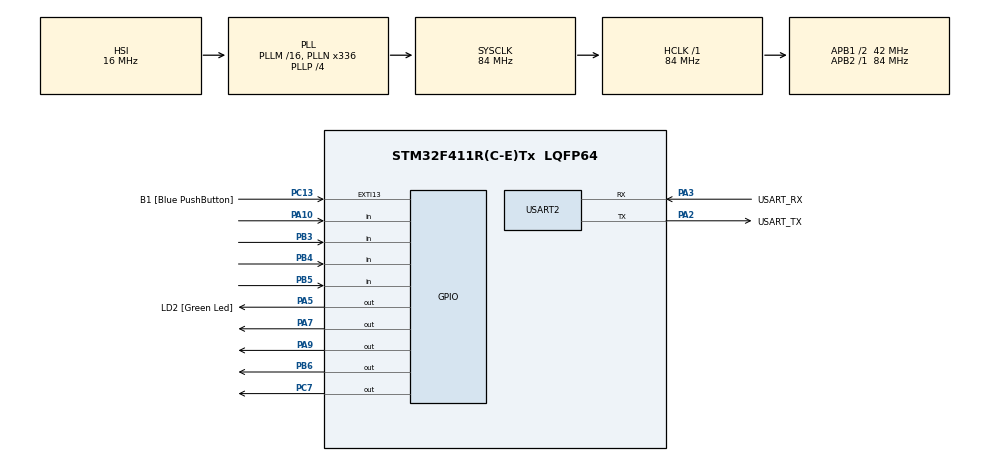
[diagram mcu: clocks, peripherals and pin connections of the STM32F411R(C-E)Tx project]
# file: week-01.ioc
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Mcu.Family=STM32F4
Mcu.Name=STM32F411R(C-E)Tx
Mcu.Package=LQFP64
NVIC.PriorityGroup=NVIC_PRIORITYGROUP_0
PA10.Signal=GPIO_Input
PA13.GPIO_Label=TMS
PA13.Mode=Serial_Wire
PA13.Signal=SYS_JTMS-SWDIO
PA14.GPIO_Label=TCK
PA14.Mode=Serial_Wire
PA14.Signal=SYS_JTCK-SWCLK
PA2.GPIO_Label=USART_TX
PA2.Mode=Asynchronous
PA2.Signal=USART2_TX
PA3.GPIO_Label=USART_RX
PA3.Mode=Asynchronous
PA3.Signal=USART2_RX
PA5.GPIO_Label=LD2 [Green Led]
PA5.Signal=GPIO_Output
PA7.Signal=GPIO_Output
PA9.Signal=GPIO_Output
PB3.Signal=GPIO_Input
PB4.Signal=GPIO_Input
PB5.Signal=GPIO_Input
PB6.Signal=GPIO_Output
PC13-ANTI_TAMP.GPIO_Label=B1 [Blue PushButton]
PC13-ANTI_TAMP.GPIO_ModeDefaultEXTI=GPIO_MODE_IT_FALLING
PC13-ANTI_TAMP.Signal=GPXTI13
PC14-OSC32_IN.Mode=LSE-External-Oscillator
PC14-OSC32_IN.Signal=RCC_OSC32_IN
PC15-OSC32_OUT.Mode=LSE-External-Oscillator
PC15-OSC32_OUT.Signal=RCC_OSC32_OUT
PC7.Signal=GPIO_Output
PH0\ -\ OSC_IN.Mode=HSE-External-Clock-Source
PH0\ -\ OSC_IN.Signal=RCC_OSC_IN
PH1\ -\ OSC_OUT.Mode=HSE-External-Clock-Source
PH1\ -\ OSC_OUT.Signal=RCC_OSC_OUT
ProjectManager.HeapSize=0x200
ProjectManager.StackSize=0x400
ProjectManager.TargetToolchain=STM32CubeIDE
RCC.48MHZClocksFreq_Value=84000000
RCC.AHBFreq_Value=84000000
RCC.APB1CLKDivider=RCC_HCLK_DIV2
RCC.APB1Freq_Value=42000000
RCC.APB1TimFreq_Value=84000000
RCC.APB2Freq_Value=84000000
RCC.APB2TimFreq_Value=84000000
RCC.CortexFreq_Value=84000000
RCC.FLatency-AdvancedSettings=FLASH_LATENCY_2
RCC.HCLKFreq_Value=84000000
RCC.HSE_VALUE=8000000
RCC.HSI_VALUE=16000000
RCC.PLLN=336
RCC.PLLP=RCC_PLLP_DIV4
RCC.SYSCLKFreq_VALUE=84000000
RCC.SYSCLKSource=RCC_SYSCLKSOURCE_PLLCLK
RCC.VCOOutputFreq_Value=336000000
USART2.VirtualMode=VM_ASYNC
board=NUCLEO-F411RE

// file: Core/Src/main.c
/* USER CODE BEGIN Header */
/**
 ******************************************************************************
 * @file           : main.c
 * @brief          : Main program body
 ******************************************************************************
 * @attention
 *
 * <h2><center>&copy; Copyright (c) 2021 STMicroelectronics.
 * All rights reserved.</center></h2>
 *
 * This software component is licensed by ST under BSD 3-Clause license,
 * the "License"; You may not use this file except in compliance with the
 * License. You may obtain a copy of the License at:
 *                        opensource.org/licenses/BSD-3-Clause
 *
 ******************************************************************************
 */
/* USER CODE END Header */
#include "main.h"

UART_HandleTypeDef huart2;

void SystemClock_Config(void);
static void MX_GPIO_Init(void);
static void MX_USART2_UART_Init(void);

int main(void) {

	/* MCU Configuration--------------------------------------------------------*/

	/* Reset of all peripherals, Initializes the Flash interface and the Systick. */
	HAL_Init();

	/* Configure the system clock */
	SystemClock_Config();

	/* Initialize all configured peripherals */
	MX_GPIO_Init();
	MX_USART2_UART_Init();
	/* USER CODE BEGIN 2 */
	GPIO_PinState SWstate1[2]; //--------------------
	GPIO_PinState SWstate2[2]; //--------------------
	GPIO_PinState SWstate3[2]; //--------------------
	uint8_t SW = 0;
	uint8_t TTTSW = 0;
	uint16_t LEDtime = 1000; //1hz ------------------
	uint32_t Timestamp = 0;
	uint32_t TTimestamp = 0;
	uint32_t TTTimestamp = 0;
	/* USER CODE END 2 */

	/* Infinite loop */
	/* USER CODE BEGIN WHILE */
	while (1) {
		if (HAL_GetTick() - Timestamp >= 100) {
			TTimestamp = HAL_GetTick();
			//----------------------------------------------------S1--------------------------
			SWstate1[0] = HAL_GPIO_ReadPin(GPIOA, GPIO_PIN_10);
			if (SWstate1[1] == GPIO_PIN_RESET && SWstate1[0] == GPIO_PIN_SET) {
				SW += 1;
				if (SW == 0 || SW == 4) {
					SW = 0;
					LEDtime = 1000;
				} else if (SW == 1) {
					LEDtime = 500;
				} else if (SW == 2) {
					LEDtime = 250;
				} else if (SW == 3) {
					LEDtime = 125;
				}
			}
			//---------------------------------------------------S2 D3----------------------
			SWstate2[0] = HAL_GPIO_ReadPin(GPIOB, GPIO_PIN_3);
			if (SWstate2[1] == GPIO_PIN_RESET && SWstate2[0] == GPIO_PIN_SET) {
				if (HAL_GPIO_ReadPin(GPIOC, GPIO_PIN_7) == GPIO_PIN_SET) {
					HAL_GPIO_WritePin(GPIOC, GPIO_PIN_7, GPIO_PIN_RESET);
				} else {
					HAL_GPIO_WritePin(GPIOC, GPIO_PIN_7, GPIO_PIN_SET);
				}
			}
			//----------------------------------------------------S3--------------------------
			SWstate3[0] = HAL_GPIO_ReadPin(GPIOB, GPIO_PIN_5);
			if (SWstate3[1] == GPIO_PIN_RESET && SWstate3[0] == GPIO_PIN_SET) {
				if (HAL_GPIO_ReadPin(GPIOB, GPIO_PIN_6) == GPIO_PIN_SET) {
					HAL_GPIO_WritePin(GPIOB, GPIO_PIN_6, GPIO_PIN_RESET);
				} else {
					HAL_GPIO_WritePin(GPIOB, GPIO_PIN_6, GPIO_PIN_SET);
				}
			}
		}
		//------------------------------------------------------------------------------------
		SWstate1[1] = SWstate1[0];
		SWstate2[1] = SWstate2[0];
		SWstate3[1] = SWstate3[0];
		//--------------------------------------------------------D1--------------------------
		if (HAL_GetTick() - Timestamp >= LEDtime) {
			Timestamp = HAL_GetTick();
			if (HAL_GPIO_ReadPin(GPIOA, GPIO_PIN_9) == GPIO_PIN_SET) {
				HAL_GPIO_WritePin(GPIOA, GPIO_PIN_9, GPIO_PIN_RESET);
			} else {
				HAL_GPIO_WritePin(GPIOA, GPIO_PIN_9, GPIO_PIN_SET);
			}
		}
		//--------------------------------------------------------D5---------------------------
		if (HAL_GetTick() - TTTimestamp >= 500 && TTTSW == 0) {
			TTTSW = 1;
			TTTimestamp = HAL_GetTick();
			if (HAL_GPIO_ReadPin(GPIOB, GPIO_PIN_6) == GPIO_PIN_SET) {
				HAL_GPIO_WritePin(GPIOB, GPIO_PIN_6, GPIO_PIN_RESET);
			} else {
				HAL_GPIO_WritePin(GPIOB, GPIO_PIN_6, GPIO_PIN_SET);
			}
		} else if (HAL_GetTick() - TTTimestamp >= 1500) {
			TTTSW = 0;
			TTTimestamp = HAL_GetTick();
			if (HAL_GPIO_ReadPin(GPIOB, GPIO_PIN_6) == GPIO_PIN_SET) {
				HAL_GPIO_WritePin(GPIOB, GPIO_PIN_6, GPIO_PIN_RESET);
			} else {
				HAL_GPIO_WritePin(GPIOB, GPIO_PIN_6, GPIO_PIN_SET);
			}
		}

		/* USER CODE END WHILE */

		/* USER CODE BEGIN 3 */
		//-------------------------------------------------------
	}
	/* USER CODE END 3 */
}

void SystemClock_Config(void) {
	RCC_OscInitTypeDef RCC_OscInitStruct = { 0 };
	RCC_ClkInitTypeDef RCC_ClkInitStruct = { 0 };

	/** Configure the main internal regulator output voltage
	 */
	__HAL_RCC_PWR_CLK_ENABLE();
	__HAL_PWR_VOLTAGESCALING_CONFIG(PWR_REGULATOR_VOLTAGE_SCALE1);
	/** Initializes the RCC Oscillators according to the specified parameters
	 * in the RCC_OscInitTypeDef structure.
	 */
	RCC_OscInitStruct.OscillatorType = RCC_OSCILLATORTYPE_HSI;
	RCC_OscInitStruct.HSIState = RCC_HSI_ON;
	RCC_OscInitStruct.HSICalibrationValue = RCC_HSICALIBRATION_DEFAULT;
	RCC_OscInitStruct.PLL.PLLState = RCC_PLL_ON;
	RCC_OscInitStruct.PLL.PLLSource = RCC_PLLSOURCE_HSI;
	RCC_OscInitStruct.PLL.PLLM = 16;
	RCC_OscInitStruct.PLL.PLLN = 336;
	RCC_OscInitStruct.PLL.PLLP = RCC_PLLP_DIV4;
	RCC_OscInitStruct.PLL.PLLQ = 4;
	if (HAL_RCC_OscConfig(&RCC_OscInitStruct) != HAL_OK) {
		Error_Handler();
	}
	/** Initializes the CPU, AHB and APB buses clocks
	 */
	RCC_ClkInitStruct.ClockType = RCC_CLOCKTYPE_HCLK | RCC_CLOCKTYPE_SYSCLK
			| RCC_CLOCKTYPE_PCLK1 | RCC_CLOCKTYPE_PCLK2;
	RCC_ClkInitStruct.SYSCLKSource = RCC_SYSCLKSOURCE_PLLCLK;
	RCC_ClkInitStruct.AHBCLKDivider = RCC_SYSCLK_DIV1;
	RCC_ClkInitStruct.APB1CLKDivider = RCC_HCLK_DIV2;
	RCC_ClkInitStruct.APB2CLKDivider = RCC_HCLK_DIV1;

	if (HAL_RCC_ClockConfig(&RCC_ClkInitStruct, FLASH_LATENCY_2) != HAL_OK) {
		Error_Handler();
	}
}

static void MX_USART2_UART_Init(void) {

	huart2.Instance = USART2;
	huart2.Init.BaudRate = 115200;
	huart2.Init.WordLength = UART_WORDLENGTH_8B;
	huart2.Init.StopBits = UART_STOPBITS_1;
	huart2.Init.Parity = UART_PARITY_NONE;
	huart2.Init.Mode = UART_MODE_TX_RX;
	huart2.Init.HwFlowCtl = UART_HWCONTROL_NONE;
	huart2.Init.OverSampling = UART_OVERSAMPLING_16;
	if (HAL_UART_Init(&huart2) != HAL_OK) {
		Error_Handler();
	}

}

static void MX_GPIO_Init(void) {
	GPIO_InitTypeDef GPIO_InitStruct = { 0 };

	/* GPIO Ports Clock Enable */
	__HAL_RCC_GPIOC_CLK_ENABLE();
	__HAL_RCC_GPIOH_CLK_ENABLE();
	__HAL_RCC_GPIOA_CLK_ENABLE();
	__HAL_RCC_GPIOB_CLK_ENABLE();

	/*Configure GPIO pin Output Level */
	HAL_GPIO_WritePin(GPIOA, LD2_Pin | GPIO_PIN_7 | GPIO_PIN_9, GPIO_PIN_RESET);

	/*Configure GPIO pin Output Level */
	HAL_GPIO_WritePin(GPIOC, GPIO_PIN_7, GPIO_PIN_RESET);

	/*Configure GPIO pin Output Level */
	HAL_GPIO_WritePin(GPIOB, GPIO_PIN_6, GPIO_PIN_RESET);

	/*Configure GPIO pin : B1_Pin */
	GPIO_InitStruct.Pin = B1_Pin;
	GPIO_InitStruct.Mode = GPIO_MODE_IT_FALLING;
	GPIO_InitStruct.Pull = GPIO_NOPULL;
	HAL_GPIO_Init(B1_GPIO_Port, &GPIO_InitStruct);

	/*Configure GPIO pins : LD2_Pin PA7 PA9 */
	GPIO_InitStruct.Pin = LD2_Pin | GPIO_PIN_7 | GPIO_PIN_9;
	GPIO_InitStruct.Mode = GPIO_MODE_OUTPUT_PP;
	GPIO_InitStruct.Pull = GPIO_NOPULL;
	GPIO_InitStruct.Speed = GPIO_SPEED_FREQ_LOW;
	HAL_GPIO_Init(GPIOA, &GPIO_InitStruct);

	/*Configure GPIO pin : PC7 */
	GPIO_InitStruct.Pin = GPIO_PIN_7;
	GPIO_InitStruct.Mode = GPIO_MODE_OUTPUT_PP;
	GPIO_InitStruct.Pull = GPIO_NOPULL;
	GPIO_InitStruct.Speed = GPIO_SPEED_FREQ_LOW;
	HAL_GPIO_Init(GPIOC, &GPIO_InitStruct);

	/*Configure GPIO pin : PA10 */
	GPIO_InitStruct.Pin = GPIO_PIN_10;
	GPIO_InitStruct.Mode = GPIO_MODE_INPUT;
	GPIO_InitStruct.Pull = GPIO_NOPULL;
	HAL_GPIO_Init(GPIOA, &GPIO_InitStruct);

	/*Configure GPIO pins : PB3 PB4 PB5 */
	GPIO_InitStruct.Pin = GPIO_PIN_3 | GPIO_PIN_4 | GPIO_PIN_5;
	GPIO_InitStruct.Mode = GPIO_MODE_INPUT;
	GPIO_InitStruct.Pull = GPIO_NOPULL;
	HAL_GPIO_Init(GPIOB, &GPIO_InitStruct);

	/*Configure GPIO pin : PB6 */
	GPIO_InitStruct.Pin = GPIO_PIN_6;
	GPIO_InitStruct.Mode = GPIO_MODE_OUTPUT_PP;
	GPIO_InitStruct.Pull = GPIO_NOPULL;
	GPIO_InitStruct.Speed = GPIO_SPEED_FREQ_LOW;
	HAL_GPIO_Init(GPIOB, &GPIO_InitStruct);

}

void Error_Handler(void) {
	__disable_irq();
	while (1) {
	}
}

/************************ (C) COPYRIGHT STMicroelectronics *****END OF FILE****/
